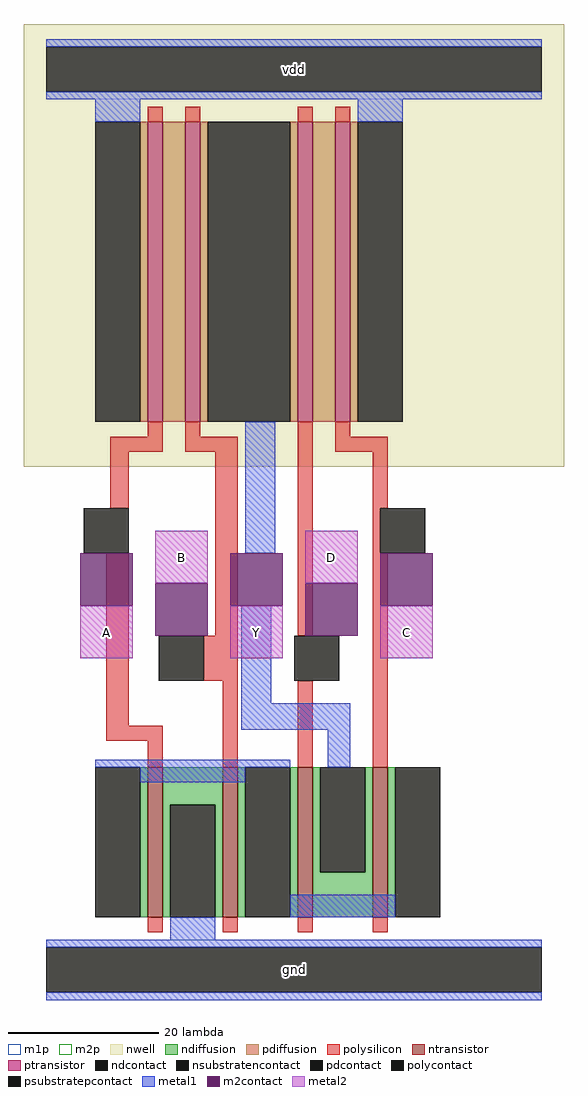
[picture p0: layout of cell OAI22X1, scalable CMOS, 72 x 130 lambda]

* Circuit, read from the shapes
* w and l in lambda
.subckt OAI22X1 A B C D Y vdd gnd
M1 gnd A n1 gnd nfet w=20 l=2
M2 n1 B gnd gnd nfet w=20 l=2
M3 Y D n1 gnd nfet w=20 l=2
M4 n1 C Y gnd nfet w=20 l=2
M5 n2 A vdd vdd pfet w=40 l=2
M6 Y B n2 vdd pfet w=40 l=2
M7 n3 D Y vdd pfet w=40 l=2
M8 vdd C n3 vdd pfet w=40 l=2
.ends

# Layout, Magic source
magic
tech scmos
magscale 1 2
<< nwell >>
rect -12 134 132 252
<< ntransistor >>
rect 21 14 25 54
rect 41 14 45 54
rect 61 14 65 54
rect 81 14 85 54
<< ptransistor >>
rect 21 146 25 226
rect 31 146 35 226
rect 61 146 65 226
rect 71 146 75 226
<< ndiffusion >>
rect 19 14 21 54
rect 25 44 41 54
rect 25 14 27 44
rect 39 14 41 44
rect 45 14 47 54
rect 59 14 61 54
rect 65 26 67 54
rect 79 26 81 54
rect 65 14 81 26
rect 85 14 87 54
<< pdiffusion >>
rect 19 146 21 226
rect 25 146 31 226
rect 35 146 37 226
rect 59 146 61 226
rect 65 146 71 226
rect 75 146 77 226
<< ndcontact >>
rect 7 14 19 54
rect 27 14 39 44
rect 47 14 59 54
rect 67 26 79 54
rect 87 14 99 54
<< pdcontact >>
rect 7 146 19 226
rect 37 146 59 226
rect 77 146 89 226
<< psubstratepcontact >>
rect -6 -6 126 6
<< nsubstratencontact >>
rect -6 234 126 246
<< polysilicon >>
rect 21 226 25 230
rect 31 226 35 230
rect 61 226 65 230
rect 71 226 75 230
rect 21 142 25 146
rect 11 138 25 142
rect 31 142 35 146
rect 31 138 45 142
rect 11 123 16 138
rect 10 65 16 111
rect 39 89 45 138
rect 61 89 65 146
rect 71 142 75 146
rect 71 138 85 142
rect 81 123 85 138
rect 81 111 83 123
rect 36 77 45 89
rect 10 61 25 65
rect 21 54 25 61
rect 41 54 45 77
rect 61 54 65 77
rect 81 54 85 111
rect 21 10 25 14
rect 41 10 45 14
rect 61 10 65 14
rect 81 10 85 14
<< polycontact >>
rect 4 111 16 123
rect 83 111 95 123
rect 24 77 36 89
rect 60 77 72 89
<< metal1 >>
rect -6 246 126 248
rect -6 232 126 234
rect 7 226 19 232
rect 77 226 89 232
rect 47 111 55 146
rect 46 71 54 97
rect 46 64 75 71
rect 7 54 59 56
rect 69 54 75 64
rect 19 50 47 54
rect 59 14 87 20
rect 27 8 39 14
rect -6 6 126 8
rect -6 -8 126 -6
<< m2contact >>
rect 3 97 17 111
rect 23 89 37 103
rect 43 97 57 111
rect 63 89 77 103
rect 83 97 97 111
<< metal2 >>
rect 3 83 17 97
rect 23 103 37 117
rect 43 83 57 97
rect 63 103 77 117
rect 83 83 97 97
<< m1p >>
rect -6 232 126 248
rect -6 -8 126 8
<< m2p >>
rect 23 103 37 117
rect 63 103 77 117
rect 3 83 17 97
rect 43 83 57 97
rect 83 83 97 97
<< labels >>
rlabel metal1 -6 -8 126 8 0 gnd
port 6 nsew ground bidirectional abutment
rlabel metal1 -6 232 126 248 0 vdd
port 5 nsew power bidirectional abutment
rlabel metal2 3 83 17 97 0 A
port 0 nsew signal input
rlabel metal2 23 103 37 117 0 B
port 1 nsew signal input
rlabel metal2 83 83 97 97 0 C
port 2 nsew signal input
rlabel metal2 43 83 57 97 0 Y
port 4 nsew signal output
rlabel metal2 63 103 77 117 0 D
port 3 nsew signal input
<< properties >>
string FIXED_BBOX 0 0 120 240
string LEFclass CORE
string LEFsite core
string LEFsymmetry X Y
<< end >>
